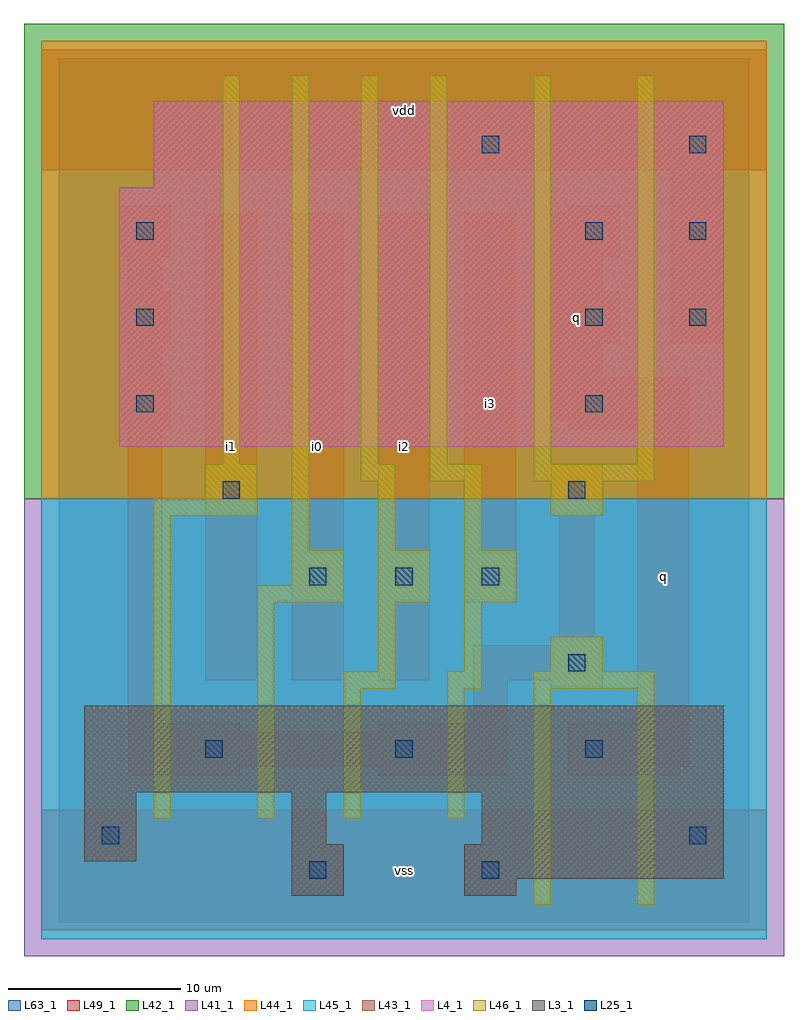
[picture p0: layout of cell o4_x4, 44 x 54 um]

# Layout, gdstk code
import gdstk
lib = gdstk.Library(unit=1e-6, precision=1e-09)
def R(c, l, rs):  # rectangles x0, y0, x1, y1
    for r in rs: c.add(gdstk.rectangle(r[:2], r[2:], *l))
def A(c, l, x, y, w, h, nx, ny, dx, dy):  # array of equal rectangles
    R(c, l, [(x+i*dx, y+j*dy, x+i*dx+w, y+j*dy+h) for i in range(nx) for j in range(ny)])
L3_1 = (3, 1)
L4_1 = (4, 1)
L25_1 = (25, 1)
L41_1 = (41, 1)
L42_1 = (42, 1)
L43_1 = (43, 1)
L44_1 = (44, 1)
L45_1 = (45, 1)
L46_1 = (46, 1)
L49_1 = (49, 1)
L63_1 = (63, 1)

o4_x4 = lib.new_cell('o4_x4')
R(o4_x4, L3_1, [(13.5,1.5,16.5,4.5), (23.5,1.5,26.5,2.5), (23.5,2.5,38.5,4.5), (1.5,3.5,4.5,7.5), (13.5,4.5,15.5,7.5), (24.5,4.5,38.5,7.5), (1.5,7.5,38.5,12.5)])
R(o4_x4, L4_1, [(3.5,27.5,38.5,42.5), (5.5,42.5,38.5,47.5)])
A(o4_x4, L25_1, 8.5, 9.5, 1, 1, 3, 1, 11, 0)
A(o4_x4, L25_1, 14.5, 19.5, 1, 1, 3, 1, 5, 0)
A(o4_x4, L25_1, 4.5, 29.5, 1, 1, 1, 3, 0, 5)
A(o4_x4, L25_1, 30.5, 29.5, 1, 1, 1, 3, 0, 5)
A(o4_x4, L25_1, 36.5, 34.5, 1, 1, 1, 3, 0, 5)
R(o4_x4, L25_1, [(14.5,2.5,15.5,3.5), (24.5,2.5,25.5,3.5), (2.5,4.5,3.5,5.5), (36.5,4.5,37.5,5.5), (29.5,14.5,30.5,15.5), (9.5,24.5,10.5,25.5), (29.5,24.5,30.5,25.5), (24.5,44.5,25.5,45.5)])
R(o4_x4, L41_1, [(-2,-2,42,24.5)])
R(o4_x4, L42_1, [(-2,24.5,42,52)])
R(o4_x4, L43_1, [(13.5,1.5,16.5,4.5), (23.5,1.5,26.5,2.5), (23.5,2.5,38.5,4.5), (1.5,3.5,4.5,7.5), (13.5,4.5,15.5,7.5), (24.5,4.5,38.5,7.5), (1.5,7.5,38.5,12.5), (3.5,27.5,38.5,42.5), (5.5,42.5,38.5,47.5)])
R(o4_x4, L44_1, [(-1,24.5,41,51)])
R(o4_x4, L45_1, [(-1,-1,41,24.5)])
A(o4_x4, L46_1, 21.5, 26.5, 1, 22.5, 3, 1, 6, 0)
R(o4_x4, L46_1, [(27.5,1,28.5,13.5), (33.5,1,34.5,13.5), (5.5,6,6.5,23.5), (11.5,6,12.5,18.5), (16.5,6,17.5,13.5), (22.5,6,23.5,13.5), (16.5,13.5,19.5,14.5), (22.5,13.5,24.5,14.5), (27.5,13.5,34.5,14.5), (18.5,14.5,19.5,18.5), (23.5,14.5,24.5,18.5), (28.5,14.5,31.5,16.5), (11.5,18.5,16.5,19.5), (18.5,18.5,21.5,21.5), (23.5,18.5,26.5,21.5), (13.5,19.5,16.5,21.5), (13.5,21.5,14.5,49), (18.5,21.5,19.5,25.5), (23.5,21.5,24.5,25.5), (5.5,23.5,11.5,24.5), (28.5,23.5,31.5,25.5), (8.5,24.5,11.5,26.5), (17.5,25.5,19.5,26.5), (21.5,25.5,24.5,26.5), (27.5,25.5,34.5,26.5), (9.5,26.5,10.5,49), (17.5,26.5,18.5,49)])
A(o4_x4, L49_1, 8.5, 14, 3, 27, 3, 1, 5, 0)
A(o4_x4, L49_1, 3.5, 28.5, 3, 3, 1, 3, 0, 5)
R(o4_x4, L49_1, [(-1,-0.5,41,6.5), (4,8.5,10.5,9), (18.5,8.5,26,9), (29.5,8.5,36,9), (4,9,26,11), (29.5,9,36.5,11.5), (4,11,10.5,11.5), (18.5,11,26,11.5), (4,11.5,6,28.5), (24,11.5,26,14), (33.5,11.5,36.5,28.5), (28.5,13.5,31.5,14), (24,14,31.5,16), (28.5,16,31.5,16.5), (29,16.5,31,23.5), (23.5,18.5,26.5,41), (28.5,23.5,31.5,26.5), (29.5,28.5,36.5,29), (28.5,29,36.5,31.5), (4,31.5,6,33.5), (28.5,31.5,31.5,33.5), (28.5,33.5,32.5,36.5), (35.5,33.5,38.5,43.5), (4,36.5,6,38.5), (28.5,36.5,31.5,38.5), (28.5,38.5,32.5,41), (29.5,41,32.5,41.5), (-1,43.5,41,50.5)])
R(o4_x4, L63_1, [(0,0,40,50)])
o4_x4.add(gdstk.Label('i1', (10,27.5), layer=49, texttype=1))
o4_x4.add(gdstk.Label('i1', (10,27.5), layer=49, texttype=1))
o4_x4.add(gdstk.Label('i0', (15,27.5), layer=49, texttype=1))
o4_x4.add(gdstk.Label('i0', (15,27.5), layer=49, texttype=1))
o4_x4.add(gdstk.Label('vss', (20,3), layer=49, texttype=1))
o4_x4.add(gdstk.Label('vss', (20,3), layer=49, texttype=1))
o4_x4.add(gdstk.Label('i2', (20,27.5), layer=49, texttype=1))
o4_x4.add(gdstk.Label('i2', (20,27.5), layer=49, texttype=1))
o4_x4.add(gdstk.Label('q', (30,35), layer=49, texttype=1))
o4_x4.add(gdstk.Label('i3', (25,30), layer=49, texttype=1))
o4_x4.add(gdstk.Label('q', (30,35), layer=49, texttype=1))
o4_x4.add(gdstk.Label('i3', (25,30), layer=49, texttype=1))
o4_x4.add(gdstk.Label('vdd', (20,47), layer=49, texttype=1))
o4_x4.add(gdstk.Label('vdd', (20,47), layer=49, texttype=1))
o4_x4.add(gdstk.Label('q', (35,20), layer=49, texttype=1))
o4_x4.add(gdstk.Label('q', (35,20), layer=49, texttype=1))

lib.write_gds('o4_x4.gds')
